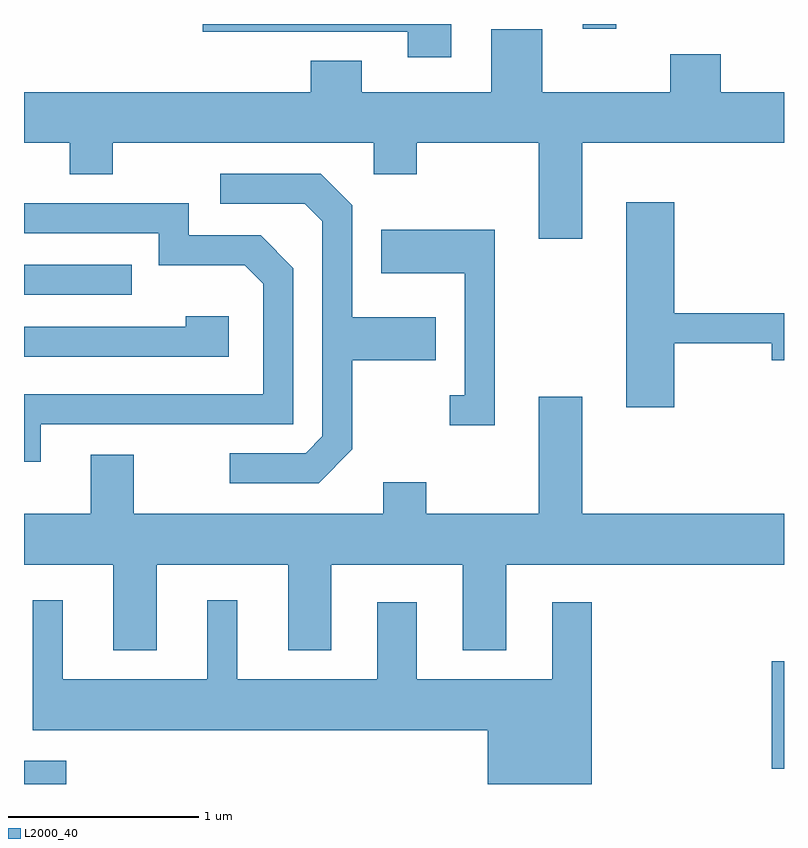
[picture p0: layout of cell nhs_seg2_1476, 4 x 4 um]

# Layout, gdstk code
import gdstk
lib = gdstk.Library(unit=1e-6, precision=1e-09)
def R(c, l, rs):  # rectangles x0, y0, x1, y1
    for r in rs: c.add(gdstk.rectangle(r[:2], r[2:], *l))
def P(c, l, *ps):  # polygons
    for p in ps: c.add(gdstk.Polygon(p, *l))
L2000_40 = (2000, 40)

nhs_seg2_1476 = lib.new_cell('nhs_seg2_1476')
R(nhs_seg2_1476, L2000_40, [(227.611,1073.802,227.834,1073.924), (231.546,1073.881,231.611,1074.449), (227.611,1076.376,228.178,1076.534), (230.551,1077.776,230.729,1077.802)])
P(nhs_seg2_1476, L2000_40, [(229.859,1077.802),(228.551,1077.802),(228.551,1077.761),(229.631,1077.761),(229.631,1077.626),(229.859,1077.626)],
  [(230.549,1077.176),(231.611,1077.176),(231.611,1077.444),(231.279,1077.444),(231.279,1077.644),(231.011,1077.644),(231.011,1077.444),(230.339,1077.444),(230.339,1077.774),(230.071,1077.774),(230.071,1077.444),(229.389,1077.444),(229.389,1077.609),(229.121,1077.609),(229.121,1077.444),(227.611,1077.444),(227.611,1077.176),(227.851,1077.176),(227.851,1077.011),(228.079,1077.011),(228.079,1077.176),(229.451,1077.176),(229.451,1077.011),(229.679,1077.011),(229.679,1077.176),(230.321,1077.176),(230.321,1076.671),(230.549,1076.671)],
  [(229.339,1075.564),(229.339,1076.031),(229.779,1076.031),(229.779,1076.259),(229.339,1076.259),(229.339,1076.847),(229.172,1077.014),(228.643,1077.014),(228.643,1076.856),(229.089,1076.856),(229.181,1076.764),(229.181,1075.632),(229.094,1075.544),(228.693,1075.544),(228.693,1075.386),(229.162,1075.386)],
  [(231.034,1076.121),(231.546,1076.121),(231.546,1076.031),(231.611,1076.031),(231.611,1076.279),(231.034,1076.279),(231.034,1076.864),(230.781,1076.864),(230.781,1075.786),(231.034,1075.786)],
  [(227.699,1075.696),(229.029,1075.696),(229.029,1076.517),(228.857,1076.689),(228.479,1076.689),(228.479,1076.859),(227.611,1076.859),(227.611,1076.701),(228.321,1076.701),(228.321,1076.531),(228.774,1076.531),(228.871,1076.434),(228.871,1075.854),(227.611,1075.854),(227.611,1075.498),(227.699,1075.498)],
  [(230.089,1076.719),(229.491,1076.719),(229.491,1076.491),(229.931,1076.491),(229.931,1075.849),(229.853,1075.849),(229.853,1075.691),(230.089,1075.691)],
  [(228.689,1076.264),(228.461,1076.264),(228.461,1076.209),(227.611,1076.209),(227.611,1076.051),(228.689,1076.051)],
  [(228.309,1074.956),(229.001,1074.956),(229.001,1074.506),(229.229,1074.506),(229.229,1074.956),(229.921,1074.956),(229.921,1074.506),(230.149,1074.506),(230.149,1074.956),(231.611,1074.956),(231.611,1075.224),(230.549,1075.224),(230.549,1075.839),(230.321,1075.839),(230.321,1075.224),(229.729,1075.224),(229.729,1075.389),(229.501,1075.389),(229.501,1075.224),(228.189,1075.224),(228.189,1075.534),(227.961,1075.534),(227.961,1075.224),(227.611,1075.224),(227.611,1074.956),(228.081,1074.956),(228.081,1074.506),(228.309,1074.506)],
  [(230.599,1074.759),(230.391,1074.759),(230.391,1074.354),(229.679,1074.354),(229.679,1074.759),(229.471,1074.759),(229.471,1074.354),(228.734,1074.354),(228.734,1074.768),(228.576,1074.768),(228.576,1074.354),(227.814,1074.354),(227.814,1074.768),(227.656,1074.768),(227.656,1074.086),(230.051,1074.086),(230.051,1073.802),(230.599,1073.802)])

lib.write_gds('nhs_seg2_1476.gds')
